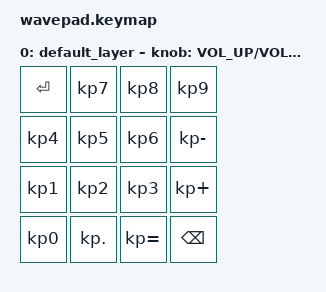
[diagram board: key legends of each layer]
#include <behaviors.dtsi>
#include <dt-bindings/zmk/keys.h>

/ {
    keymap {
        compatible = "zmk,keymap";

        default_layer {
            bindings = <
                &kp ENTER   &kp KP_NUMBER_7   &kp KP_NUMBER_8   &kp KP_NUMBER_9
                &kp KP_NUMBER_4    &kp KP_NUMBER_5   &kp KP_NUMBER_6   &kp KP_MINUS
                &kp KP_NUMBER_1    &kp KP_NUMBER_2   &kp KP_NUMBER_3   &kp KP_PLUS
                &kp KP_NUMBER_0    &kp KP_DOT &kp KP_EQUAL &kp BSPC
            >;

            sensor-bindings = <&inc_dec_kp C_VOL_UP C_VOL_DN>;
        };
    };
};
